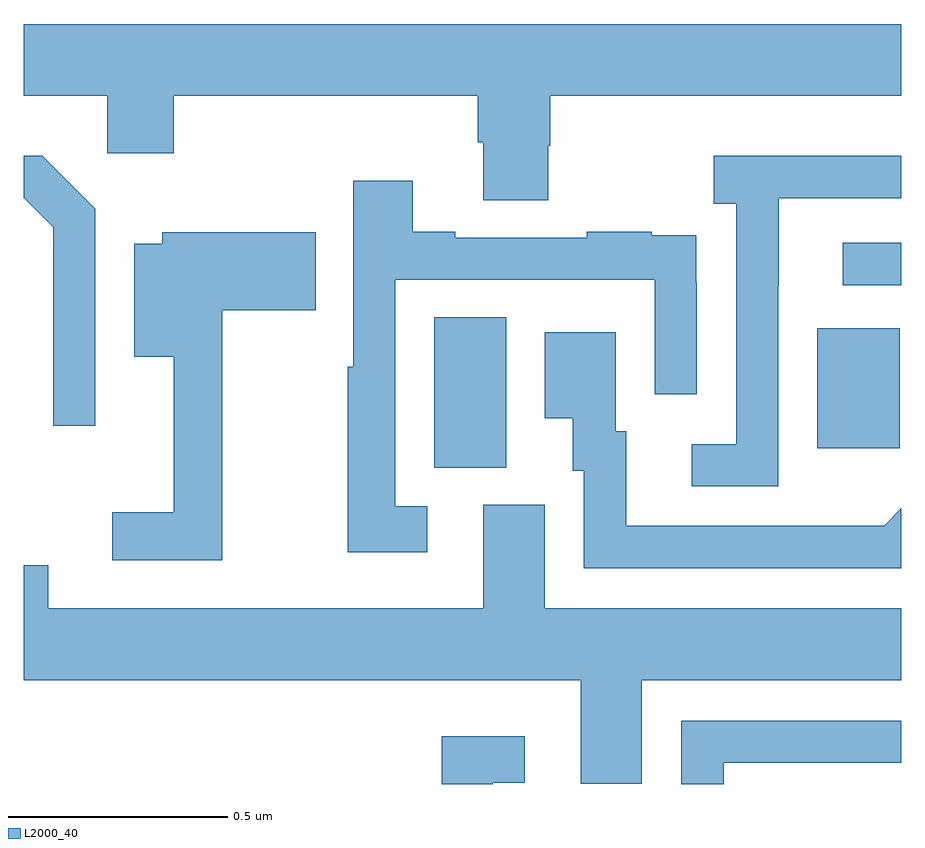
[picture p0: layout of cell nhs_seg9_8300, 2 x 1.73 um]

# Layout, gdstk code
import gdstk
lib = gdstk.Library(unit=1e-6, precision=1e-09)
def R(c, l, rs):  # rectangles x0, y0, x1, y1
    for r in rs: c.add(gdstk.rectangle(r[:2], r[2:], *l))
def P(c, l, *ps):  # polygons
    for p in ps: c.add(gdstk.Polygon(p, *l))
L2000_40 = (2000, 40)

nhs_seg9_8300 = lib.new_cell('nhs_seg9_8300')
R(nhs_seg9_8300, L2000_40, [(215.936,1214.221,216.1,1214.564), (216.809,1214.265,216.997,1214.539), (216.867,1214.637,217,1214.733)])
P(nhs_seg9_8300, L2000_40, [(216.195,1214.955),(216.2,1214.955),(216.2,1215.068),(217,1215.068),(217,1215.232),(215,1215.232),(215,1215.068),(215.19,1215.068),(215.19,1214.937),(215.342,1214.937),(215.342,1215.068),(216.035,1215.068),(216.035,1214.962),(216.047,1214.962),(216.047,1214.83),(216.195,1214.83)],
  [(215.163,1214.811),(215.042,1214.932),(215,1214.932),(215,1214.835),(215.001,1214.835),(215.067,1214.769),(215.067,1214.316),(215.163,1214.316)],
  [(216.72,1214.635),(216.721,1214.635),(216.721,1214.835),(217,1214.835),(217,1214.932),(216.573,1214.932),(216.573,1214.822),(216.624,1214.822),(216.624,1214.274),(216.522,1214.274),(216.522,1214.178),(216.72,1214.178)],
  [(215.92,1214.133),(215.847,1214.133),(215.847,1214.649),(216.438,1214.649),(216.438,1214.388),(216.534,1214.388),(216.534,1214.642),(216.533,1214.642),(216.533,1214.751),(216.431,1214.751),(216.431,1214.758),(216.283,1214.758),(216.283,1214.745),(215.983,1214.745),(215.983,1214.758),(215.887,1214.758),(215.887,1214.875),(215.751,1214.875),(215.751,1214.451),(215.739,1214.451),(215.739,1214.028),(215.92,1214.028)],
  [(215.452,1214.58),(215.665,1214.58),(215.665,1214.757),(215.316,1214.757),(215.316,1214.731),(215.252,1214.731),(215.252,1214.474),(215.342,1214.474),(215.342,1214.119),(215.202,1214.119),(215.202,1214.01),(215.452,1214.01)],
  [(217,1214.128),(216.961,1214.089),(216.857,1214.089),(216.857,1214.088),(216.373,1214.088),(216.373,1214.304),(216.349,1214.304),(216.349,1214.53),(216.188,1214.53),(216.188,1214.333),(216.251,1214.333),(216.251,1214.214),(216.276,1214.214),(216.276,1213.992),(217,1213.992)],
  [(216.409,1213.736),(217,1213.736),(217,1213.9),(216.187,1213.9),(216.187,1214.136),(216.047,1214.136),(216.047,1213.9),(215.056,1213.9),(215.056,1213.998),(215,1213.998),(215,1213.736),(216.269,1213.736),(216.269,1213.501),(216.409,1213.501)],
  [(216.595,1213.548),(217,1213.548),(217,1213.644),(216.498,1213.644),(216.498,1213.5),(216.595,1213.5)],
  [(216.069,1213.503),(216.142,1213.503),(216.142,1213.609),(215.953,1213.609),(215.953,1213.5),(216.069,1213.5)])

lib.write_gds('nhs_seg9_8300.gds')
